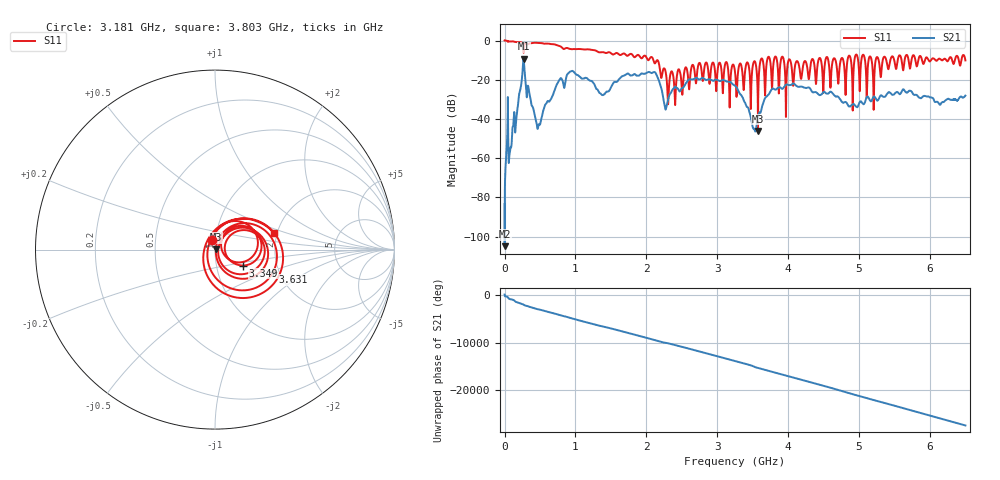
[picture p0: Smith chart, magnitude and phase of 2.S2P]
!Keysight Technologies,E5063A,MY54503115,A.05.08
!Date: Wed Mar 06 09:52:48 2024
!Data & Calibration Information:
!Freq	S11:NONE(--)	S21:NONE(--)	S12:NONE(--)	S22:NONE(--)
# Hz S dB R 50
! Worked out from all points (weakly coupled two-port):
!   10001 points, 100 kHz to 6.5 GHz, reference 50 ohm
!   highest |S21| = -9.27 dB at 267.2 MHz (marker M1); lowest = -104.9 dB at 1.4 MHz (marker M2)
!   lowest |S11| = -46.1 dB at 3.574 GHz (marker M3), VSWR 1.01, Z = 50.5 + j0.0944 ohm
!   |S11| at or under -10 dB: 2.156 GHz to 3.612 GHz (1.456 GHz wide, 50.5 % of centre); 4.028 GHz to 4.33 GHz (302.6 MHz wide, 7.24 % of centre); 4.667 GHz to 4.741 GHz (74.04 MHz wide, 1.57 % of centre) (the widest 3 of 31)
!   S12 and S22 are empty: the file has one direction only
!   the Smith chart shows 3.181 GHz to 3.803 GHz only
!   S11 on the Smith chart (normalised r, x): 3.181 GHz: 0.96, +0.11; 3.349 GHz: 1.34, -0.25; 3.631 GHz: 1.87, -0.52; 3.803 GHz: 1.91, +0.40
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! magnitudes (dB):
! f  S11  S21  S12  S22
! 100 kHz  0.0  -83.4  -  -
! 1.4 MHz  0.0  -104.9  -  -
! 39.75 MHz  -0.2  -45.9  -  -
! 267.2 MHz  -6.1  -9.3  -  -
! 475.2 MHz  -1.2  -43.7  -  -
! 773.6 MHz  -2.8  -20.1  -  -
! 1.084 GHz  -4.4  -19.3  -  -
! 1.384 GHz  -5.9  -27.9  -  -
! 2.167 GHz  -10.5  -19.5  -  -
! 2.273 GHz  -16.3  -35.1  -  -
! 2.615 GHz  -19.8  -19.8  -  -
! 3.181 GHz  -24.7  -21.1  -  -
! 3.25 GHz  -16.0  -23.1  -  -
! 3.349 GHz  -14.9  -28.5  -  -
! 3.516 GHz  -10.9  -44.9  -  -
! 3.574 GHz  -46.1  -39.9  -  -
! 3.631 GHz  -9.2  -33.7  -  -
! 3.803 GHz  -9.4  -24.8  -  -
! 4.334 GHz  -9.7  -26.0  -  -
! 4.963 GHz  -7.1  -33.9  -  -
! 5.417 GHz  -14.4  -26.3  -  -
! 6.5 GHz  -10.1  -28.1  -  -
